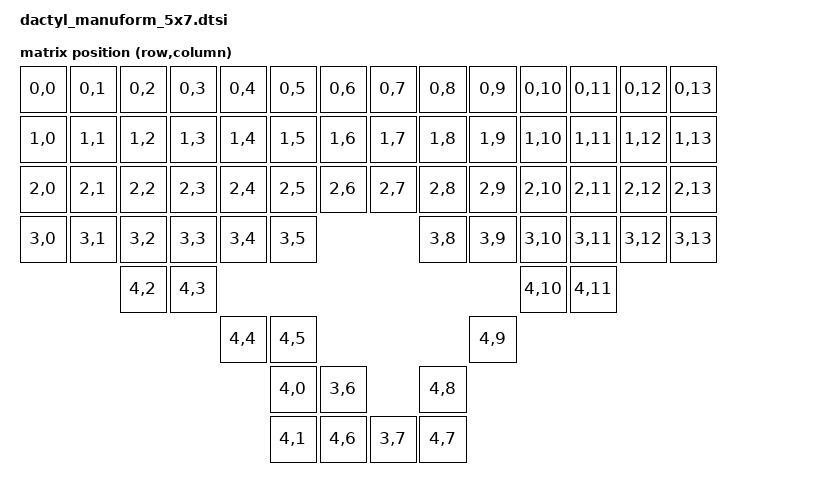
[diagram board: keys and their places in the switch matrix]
#include <dt-bindings/zmk/matrix_transform.h>

/ {
    chosen {
        zmk,kscan = &kscan0;
        zmk,matrix_transform = &default_transform;
        zephyr,console = &cdc_acm_uart;
    };

    default_transform: keymap_transform_0 {
        compatible = "zmk,matrix-transform";
        columns = <14>;
        rows = <5>;
        map = <
          RC(0,0) RC(0,1) RC(0,2) RC(0,3) RC(0,4) RC(0,5) RC(0,6)    RC(0,7) RC(0,8) RC(0,9) RC(0,10) RC(0,11) RC(0,12) RC(0,13)
          RC(1,0) RC(1,1) RC(1,2) RC(1,3) RC(1,4) RC(1,5) RC(1,6)    RC(1,7) RC(1,8) RC(1,9) RC(1,10) RC(1,11) RC(1,12) RC(1,13)
          RC(2,0) RC(2,1) RC(2,2) RC(2,3) RC(2,4) RC(2,5) RC(2,6)    RC(2,7) RC(2,8) RC(2,9) RC(2,10) RC(2,11) RC(2,12) RC(2,13)
          RC(3,0) RC(3,1) RC(3,2) RC(3,3) RC(3,4) RC(3,5)                    RC(3,8) RC(3,9) RC(3,10) RC(3,11) RC(3,12) RC(3,13)
                          RC(4,2) RC(4,3)                                                    RC(4,10) RC(4,11)

                                              RC(4,4) RC(4,5)                      RC(4,9)
                                                RC(4,0) RC(3,6)                RC(4,8)
                                                RC(4,1) RC(4,6)      RC(3,7) RC(4,7)
        >;
    };

    kscan0: kscan {
        compatible = "zmk,kscan-gpio-matrix";
        label = "KSCAN";

        diode-direction = "col2row";
    };

    trackballs {
        compatible = "zmk,keymap-trackballs";
        trackballs = <&trackball>;
        label = "PMW33xx";
    };
};

&pinctrl {
    spi0_default: spi0_default {
        group1 {
            psels = <NRF_PSEL(SPIM_SCK, 0, 22)>,
                    <NRF_PSEL(SPIM_MOSI, 0, 24)>,
                    <NRF_PSEL(SPIM_MISO, 1, 0)>;
        };
    };

    spi0_sleep: spi0_sleep {
        group1 {
            psels = <NRF_PSEL(SPIM_SCK, 0, 22)>,
                    <NRF_PSEL(SPIM_MOSI, 0, 24)>,
                    <NRF_PSEL(SPIM_MISO, 1, 0)>;
            low-power-enable;
        };
    };
};

&spi0 {
    status = "okay";
    cs-gpios = <&gpio0 20 GPIO_ACTIVE_LOW>;

    trackball: pmw33xx@0 {
        compatible = "pixart,pmw33xx";
        label = "PMW33xx";
        reg = <0>;
        spi-max-frequency = <2000000>;
        irq-gpios = <&gpio0 17 (GPIO_ACTIVE_LOW | GPIO_PULL_UP)>;
        motswk-gpios = <&gpio0 17 (GPIO_ACTIVE_LOW | GPIO_PULL_UP)>;
        cpi = <1000>;
    };
};
